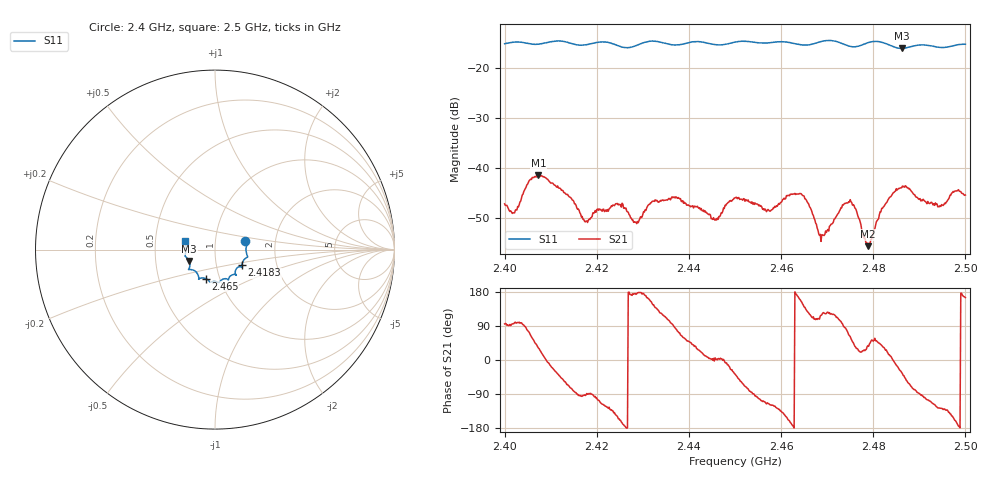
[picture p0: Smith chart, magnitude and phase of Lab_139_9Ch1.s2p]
# Hz S RI R 50
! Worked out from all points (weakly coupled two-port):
!   601 points, 2.4 GHz to 2.5 GHz, reference 50 ohm
!   highest |S21| = -41.50 dB at 2.4073 GHz (marker M1); lowest = -55.7 dB at 2.4788 GHz (marker M2)
!   lowest |S11| = -16.1 dB at 2.4862 GHz (marker M3), VSWR 1.37, Z = 37.2 - j4.81 ohm
!   |S11| at or under -10 dB: start of sweep to end of sweep
!   S12 and S22 are empty: the file has one direction only
!   S11 on the Smith chart (normalised r, x): 2.4 GHz: 1.40, +0.14; 2.4183 GHz: 1.33, -0.24; 2.465 GHz: 0.86, -0.28; 2.5 GHz: 0.71, +0.07
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2.4e9  0.1687 0.0468  -0.000394 0.00433  0 0  0 0
2.402167e9  0.178 0.0366  -0.000533 0.00349  0 0  0 0
2.405167e9  0.175 0.0174  0.00183 0.00692  0 0  0 0
2.407333e9  0.173 -0.00755  0.00716 0.00443  0 0  0 0
2.416667e9  0.1546 -0.0684  -0.000323 -0.0032  0 0  0 0
2.418333e9  0.15 -0.0869  8.99e-05 -0.00305  0 0  0 0
2.424667e9  0.1372 -0.095  -0.00384 -0.00181  0 0  0 0
2.4285e9  0.1129 -0.1237  -0.00284 0.000335  0 0  0 0
2.433333e9  0.1176 -0.141  -0.00299 0.00338  0 0  0 0
2.437667e9  0.0853 -0.1477  0.00134 0.00485  0 0  0 0
2.4455e9  0.0579 -0.1618  0.00303 -0.000147  0 0  0 0
2.45e9  0.0262 -0.18  0.00398 -0.003  0 0  0 0
2.457333e9  -0.0121 -0.1784  -0.00159 -0.00339  0 0  0 0
2.465e9  -0.0524 -0.1613  -0.00398 0.00335  0 0  0 0
2.466667e9  -0.0712 -0.1575  -0.00142 0.00337  0 0  0 0
2.469e9  -0.089 -0.163  -0.00116 0.00178  0 0  0 0
2.475167e9  -0.1024 -0.1283  0.00252 0.00381  0 0  0 0
2.478833e9  -0.1407 -0.1109  0.00129 0.00101  0 0  0 0
2.483333e9  -0.1413 -0.0966  0.00473 0.00121  0 0  0 0
2.486167e9  -0.144 -0.0632  0.00531 -0.00341  0 0  0 0
2.4945e9  -0.1607 -0.00315  -0.00253 -0.00332  0 0  0 0
2.5e9  -0.1666 0.0467  -0.00514 0.00142  0 0  0 0
